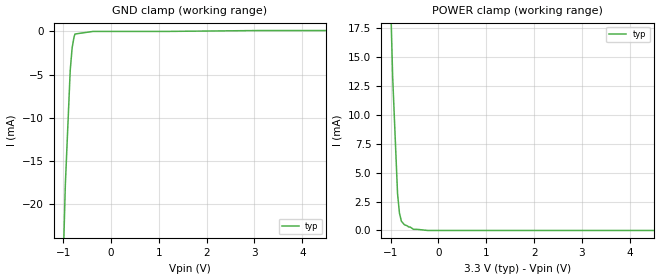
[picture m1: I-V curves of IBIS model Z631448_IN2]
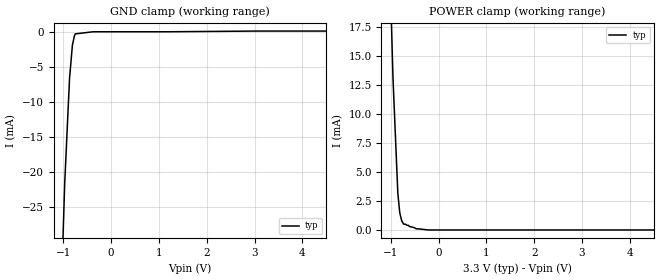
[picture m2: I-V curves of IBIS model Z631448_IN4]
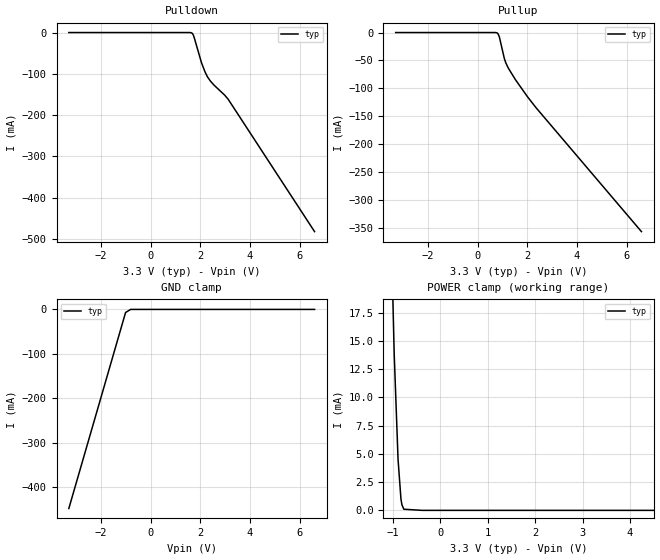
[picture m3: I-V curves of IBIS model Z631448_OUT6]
| YOU ARE ONLY AUTHORIZED TO USE THIS SOFTWARE
| ACCORDING TO LICENSOR'S LICENSE RESTRICTIONS.
[IBIS Ver] 3.1
[File Name] mc10ep58d_33.ibs
[File Rev] 2.0
[Source] Measured and created by ICX Technology
[Date] Wednesday 11/22/00 2:13:51 PM
[Copyright]
| (C) COPYRIGHT 1993-2000
| MENTOR GRAPHICS CORPORATION
| ICX STANDARD LIBRARY, ICX PROJECT MODELING,
| ICX CUSTOM MODELING, ICX VENDOR MODEL
| ALL RIGHTS RESERVED.
| THE FOLLOWING ARE TRADEMARKS OR SERVICE MARKS OF
| MENTOR GRAPHICS CORPORATION:ICX (R), ICX STANDARD
| LIBRARY(R), ICX PROJECT MODELING(R), ICX CUSTOM
| MODELING(R), qualityIBIS(TM), MODELVIEWER(TM),
| AND MODELEDITOR(TM)
| ALL COPIES OF SOFTWARE, INCLUDING BUT NOT LIMITED TO
| ANY MODIFICATIONS, ENHANCEMENTS OR DERIVATIVE WORKS,
| MUST CONTAIN ALL MENTOR GRAPHICS CORPORATION'S
| NOTICES AND LEGENDS, INCLUDING THOSE EMBEDDED IN
| SOFTWARE AND THOSE AFFIXED TO SOFTWARE MEDIUM
| AND CONTAINER, AS RECEIVED FROM MENTOR GRAPHICS
| CORPORATION.
|  ZAP Model Builder 2.8
[Component] MC10EP58D_33
[Manufacturer] OnSemiconductor
[Package]
| variable   typ   min   max
R_pkg  .152ohms NA NA
L_pkg  2.714nH NA NA
C_pkg  .364pF NA NA
[Pin] signal_name  model_name  R_pin  L_pin C_pin
1 NC NC .154 2.924n .374p
2 DA Z631448_IN2 .15 2.504n .354p
3 DB Z631448_IN2 .15 2.504n .354p
4 SEL Z631448_IN4 .154 2.924n .374p
5 VEE GND .154 2.924n .374p
6 _Q Z631448_OUT6 .15 2.504n .354p
7 Q Z631448_OUT6 .15 2.504n .354p
8 VCC POWER .154 2.924n .374p
[Diff Pin] inv_pin vdiff tdelay_typ tdelay_min tdelay_max
7 6 NA .005ns NA .02ns
| Models and submodels in the file (3): Z631448_IN2 (Input_ECL), Z631448_IN4 (Input_ECL), Z631448_OUT6 (Output_ECL)
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| (C) COPYRIGHT 1993-2000
| MENTOR GRAPHICS CORPORATION
| ICX STANDARD LIBRARY, ICX PROJECT MODELING,
| ICX CUSTOM MODELING, ICX VENDOR MODEL
| ALL RIGHTS RESERVED.
| THE FOLLOWING ARE TRADEMARKS OR SERVICE MARKS OF
| MENTOR GRAPHICS CORPORATION:ICX (R), ICX STANDARD
| LIBRARY(R), ICX PROJECT MODELING(R), ICX CUSTOM
| MODELING(R), qualityIBIS(TM), MODELVIEWER(TM),
| AND MODELEDITOR(TM)
| ALL COPIES OF SOFTWARE, INCLUDING BUT NOT LIMITED TO
| ANY MODIFICATIONS, ENHANCEMENTS OR DERIVATIVE WORKS,
| MUST CONTAIN ALL MENTOR GRAPHICS CORPORATION'S
| NOTICES AND LEGENDS, INCLUDING THOSE EMBEDDED IN
| SOFTWARE AND THOSE AFFIXED TO SOFTWARE MEDIUM
| AND CONTAINER, AS RECEIVED FROM MENTOR GRAPHICS
| CORPORATION.
| Model Application Version 1.89 2/18/99.
[Model] Z631448_IN2
Model_type Input_ECL
Vinl = 1.755V
Vinh = 2.155V
C_comp 3.000pF NA NA
| variable typ   min   max
[Voltage Range] 3.300V NA NA
[GND Clamp Reference] 0.000V NA NA
[POWER Clamp Reference] 3.300V NA NA
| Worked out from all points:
|   GND clamp passes 1 mA (typ) near -0.78 V on its own axis
|   POWER clamp passes 1 mA (typ) near -0.79 V on its own axis
[GND Clamp]
-3.3V     -616.8mA   NA         NA
-1.054V   -37.9mA    NA         NA
-953mV    -17.7mA    NA         NA
-851mV    -4.5mA     NA         NA
-811mV    -1.9mA     NA         NA
-770mV    -600uA     NA         NA
-750mV    -300uA     NA         NA
-375mV    0A         NA         NA
1.186V    0A         NA         NA
3.061V    100uA      NA         NA
6.6V      100uA      NA         NA
[POWER Clamp]
-3.3V     447.3mA    NA         NA
-1.058V   28.9mA     NA         NA
-957mV    13.3mA     NA         NA
-855mV    3.2mA      NA         NA
-815mV    1.5mA      NA         NA
-774mV    800uA      NA         NA
-713mV    500uA      NA         NA
-592mV    300uA      NA         NA
-521mV    100uA      NA         NA
-225mV    0A         NA         NA
6.6V      0A         NA         NA
| (C) COPYRIGHT 1993-2000
| MENTOR GRAPHICS CORPORATION
| ICX STANDARD LIBRARY, ICX PROJECT MODELING,
| ICX CUSTOM MODELING, ICX VENDOR MODEL
| ALL RIGHTS RESERVED.
| THE FOLLOWING ARE TRADEMARKS OR SERVICE MARKS OF
| MENTOR GRAPHICS CORPORATION:ICX (R), ICX STANDARD
| LIBRARY(R), ICX PROJECT MODELING(R), ICX CUSTOM
| MODELING(R), qualityIBIS(TM), MODELVIEWER(TM),
| AND MODELEDITOR(TM)
| ALL COPIES OF SOFTWARE, INCLUDING BUT NOT LIMITED TO
| ANY MODIFICATIONS, ENHANCEMENTS OR DERIVATIVE WORKS,
| MUST CONTAIN ALL MENTOR GRAPHICS CORPORATION'S
| NOTICES AND LEGENDS, INCLUDING THOSE EMBEDDED IN
| SOFTWARE AND THOSE AFFIXED TO SOFTWARE MEDIUM
| AND CONTAINER, AS RECEIVED FROM MENTOR GRAPHICS
| CORPORATION.
| Model Application Version 1.89 2/18/99.
[Model] Z631448_IN4
Model_type Input_ECL
Vinl = 1.755V
Vinh = 2.155V
C_comp 3.000pF NA NA
| variable typ   min   max
[Voltage Range] 3.300V NA NA
[GND Clamp Reference] 0.000V NA NA
[POWER Clamp Reference] 3.300V NA NA
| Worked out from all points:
|   GND clamp passes 1 mA (typ) near -0.78 V on its own axis
|   POWER clamp passes 1 mA (typ) near -0.79 V on its own axis
[GND Clamp]
-3.3V     -647.3mA   NA         NA
-1.074V   -43.8mA    NA         NA
-973mV    -21.7mA    NA         NA
-871mV    -6.6mA     NA         NA
-811mV    -1.9mA     NA         NA
-770mV    -600uA     NA         NA
-750mV    -300uA     NA         NA
-375mV    0A         NA         NA
1.175V    0A         NA         NA
3.04V     100uA      NA         NA
6.6V      100uA      NA         NA
[POWER Clamp]
-3.3V     429.3mA    NA         NA
-1.058V   28.3mA     NA         NA
-957mV    13.2mA     NA         NA
-855mV    3.2mA      NA         NA
-815mV    1.5mA      NA         NA
-774mV    800uA      NA         NA
-733.5mV  500uA      NA         NA
-693mV    500uA      NA         NA
-612mV    300uA      NA         NA
-469.5mV  100uA      NA         NA
-214.5mV  0A         NA         NA
6.6V      0A         NA         NA
| (C) COPYRIGHT 1993-2000
| MENTOR GRAPHICS CORPORATION
| ICX STANDARD LIBRARY, ICX PROJECT MODELING,
| ICX CUSTOM MODELING, ICX VENDOR MODEL
| ALL RIGHTS RESERVED.
| THE FOLLOWING ARE TRADEMARKS OR SERVICE MARKS OF
| MENTOR GRAPHICS CORPORATION:ICX (R), ICX STANDARD
| LIBRARY(R), ICX PROJECT MODELING(R), ICX CUSTOM
| MODELING(R), qualityIBIS(TM), MODELVIEWER(TM),
| AND MODELEDITOR(TM)
| ALL COPIES OF SOFTWARE, INCLUDING BUT NOT LIMITED TO
| ANY MODIFICATIONS, ENHANCEMENTS OR DERIVATIVE WORKS,
| MUST CONTAIN ALL MENTOR GRAPHICS CORPORATION'S
| NOTICES AND LEGENDS, INCLUDING THOSE EMBEDDED IN
| SOFTWARE AND THOSE AFFIXED TO SOFTWARE MEDIUM
| AND CONTAINER, AS RECEIVED FROM MENTOR GRAPHICS
| CORPORATION.
| Model Application Version 1.89 2/18/99.
[Model] Z631448_OUT6
Model_type Output_ECL
Vref=1.300V
Rref=50.00ohms
Cref=0.000F
Vmeas=1.955V
C_comp 8.000pF NA NA
| variable typ   min   max
[Voltage Range] 3.300V NA NA
[POWER Clamp Reference] 3.300V NA NA
[Pullup Reference] 3.300V NA NA
[Pulldown Reference] 3.300V NA NA
[GND Clamp Reference] 0.000V NA NA
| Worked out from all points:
|   GND clamp passes 1 mA (typ) near -0.84 V on its own axis
|   POWER clamp passes 1 mA (typ) near -0.83 V on its own axis
[GND Clamp]
-3.3V     -448.2mA   NA         NA
-1.014V   -7.007mA   NA         NA
-811.2mV  0A         NA         NA
6.6V      0A         NA         NA
[Pulldown]
-3.3V     0A         NA         NA
1.557V    0A         NA         NA
1.679V    -2.3mA     NA         NA
1.719V    -6.5mA     NA         NA
1.76V     -14.1mA    NA         NA
2.043V    -72.9mA    NA         NA
2.185V    -95.2mA    NA         NA
2.286V    -107.5mA   NA         NA
2.55V     -127.4mA   NA         NA
2.976V    -151.5mA   NA         NA
3.118V    -161.5mA   NA         NA
6.6V      -482.3mA   NA         NA
[Pullup]
-3.3V     0A         NA         NA
711mV     0A         NA         NA
771mV     -400uA     NA         NA
812mV     -1.5mA     NA         NA
873mV     -7.3mA     NA         NA
1.075V    -46.2mA    NA         NA
1.136V    -54.4mA    NA         NA
1.237V    -63.7mA    NA         NA
1.521V    -84.2mA    NA         NA
2.008V    -114.9mA   NA         NA
2.352V    -134.5mA   NA         NA
6.6V      -356.4mA   NA         NA
[POWER Clamp]
-3.3V     411.5mA    NA         NA
-972mV    13.8mA     NA         NA
-891mV    4.5mA      NA         NA
-830mV    1mA        NA         NA
-810mV    500uA      NA         NA
-769mV    100uA      NA         NA
-384.5mV  0A         NA         NA
6.6V      0A         NA         NA
[Ramp]
| variable typ min max
dV/dt_r 348.9m/99.86p NA NA
dV/dt_f 348.9m/82.06p NA NA
R_load = 50.00Ohms
